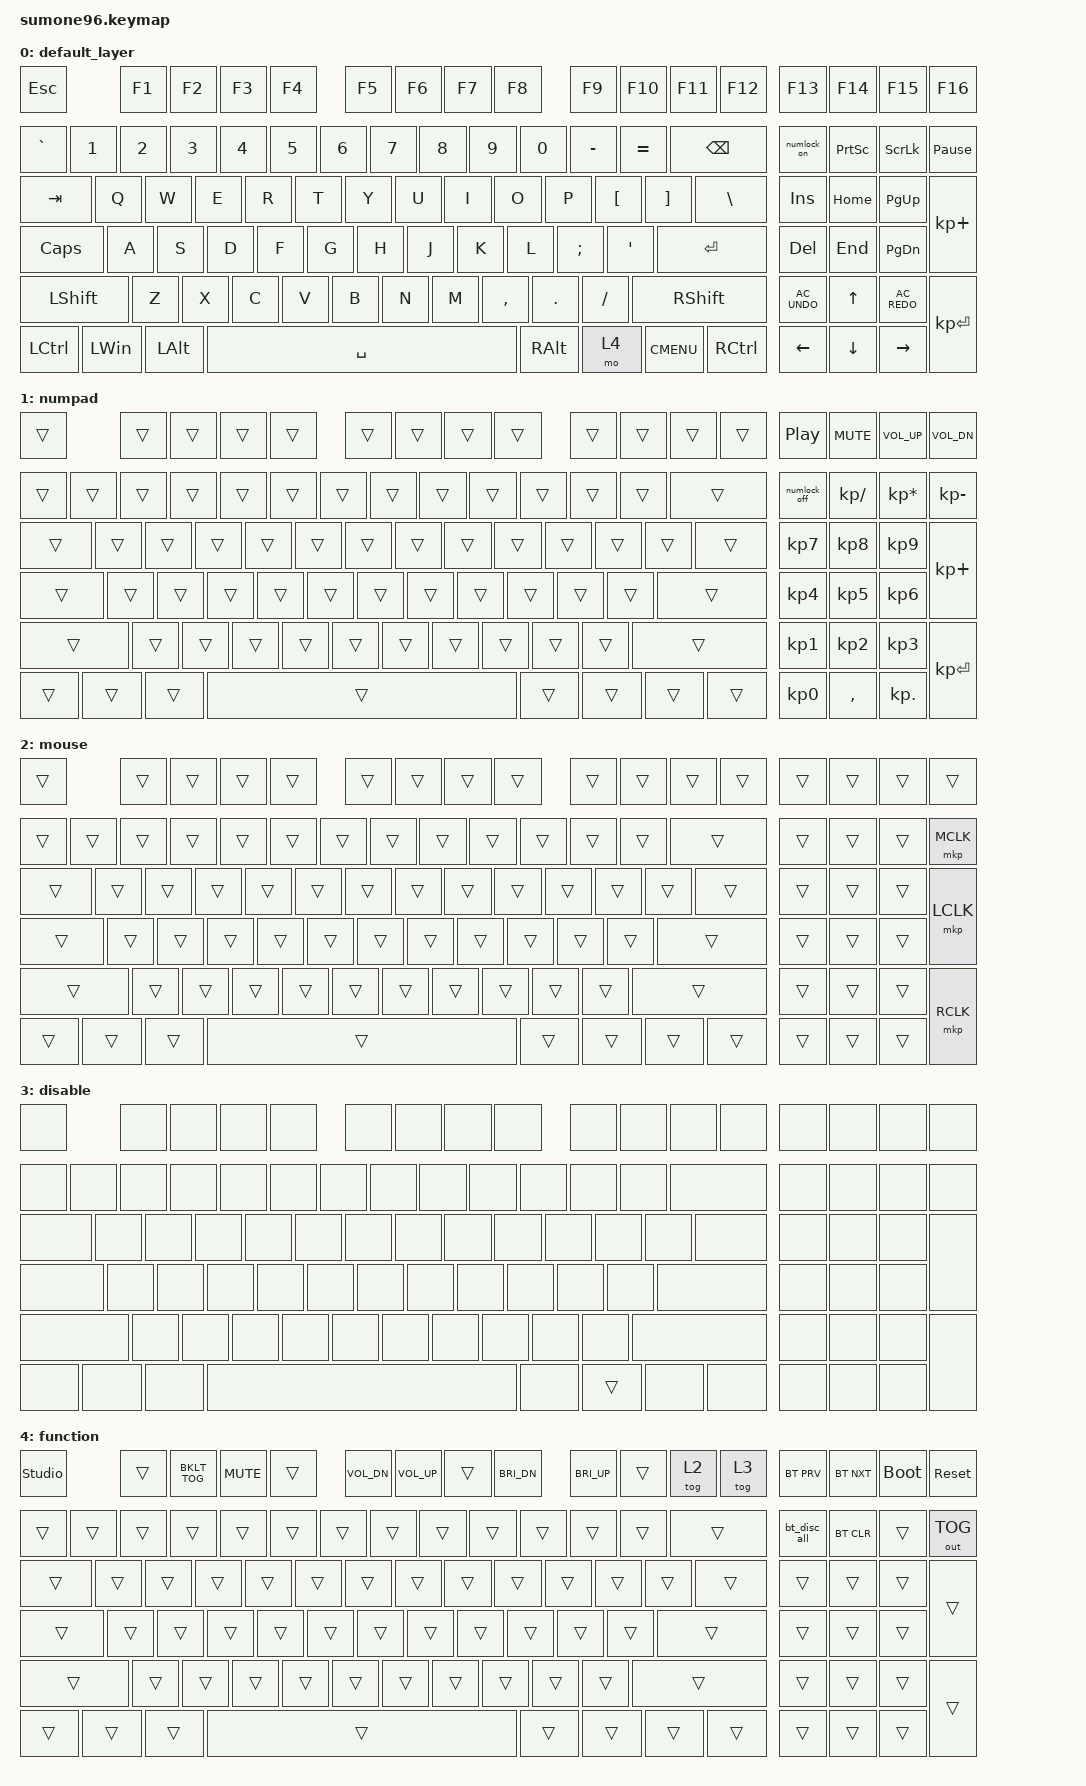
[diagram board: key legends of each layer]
#include <behaviors.dtsi>
#include <dt-bindings/zmk/keys.h>
#include <dt-bindings/zmk/backlight.h>
#include <dt-bindings/zmk/pointing.h>
#include <dt-bindings/zmk/outputs.h>
#include <dt-bindings/zmk/bt.h>

/ {
    macros {
        numlock_on: numlock_on {
            compatible = "zmk,behavior-macro";
            #binding-cells = <0>;
            bindings = <&bl BL_ON>,<&tog 1>,<&kp KP_NUMLOCK>;
        };
        numlock_off: numlock_off {
            compatible = "zmk,behavior-macro";
            #binding-cells = <0>;
            bindings = <&bl BL_OFF>,<&tog 1>,<&kp KP_NUMLOCK>;
        };
        bt_disc_all: bt_disc_all {
            compatible = "zmk,behavior-macro";
            #binding-cells = <0>;
            bindings
              = <&bt BT_DISC 0>
              , <&bt BT_DISC 1>
              , <&bt BT_DISC 2>
              , <&bt BT_DISC 3>
              , <&bt BT_DISC 4>
              ;
        };
    };

    keymap {
        compatible = "zmk,keymap";

        default_layer { // Layer 0
            bindings = <
                &kp ESC             &kp F1  &kp F2  &kp F3  &kp F4  &kp F5  &kp F6  &kp F7      &kp F8      &kp F9      &kp F10     &kp F11     &kp F12             &kp F13         &kp F14     &kp F15         &kp F16             
                &kp GRAVE   &kp N1  &kp N2  &kp N3  &kp N4  &kp N5  &kp N6  &kp N7  &kp N8      &kp N9      &kp N0      &kp MINUS   &kp EQUAL   &kp BSPC            &numlock_on     &kp PSCRN   &kp SLCK        &kp PAUSE_BREAK     
                &kp TAB     &kp Q   &kp W   &kp E   &kp R   &kp T   &kp Y   &kp U   &kp I       &kp O       &kp P       &kp LBKT    &kp RBKT    &kp BSLH            &kp INS         &kp HOME    &kp PG_UP       &kp KP_PLUS              
                &kp CAPS    &kp A   &kp S   &kp D   &kp F   &kp G   &kp H   &kp J   &kp K       &kp L       &kp SEMI    &kp APOS                &kp ENTER           &kp DEL         &kp END     &kp PG_DN            
                &kp LSHIFT  &kp Z   &kp X   &kp C   &kp V   &kp B   &kp N   &kp M   &kp COMMA   &kp PERIOD  &kp FSLH                            &kp RSHIFT          &kp C_AC_UNDO   &kp UP      &kp C_AC_REDO   &kp KP_ENTER              
                &kp LCTRL   &kp LWIN    &kp LALT            &kp SPACE                           &kp RALT    &mo 4       &kp K_CMENU             &kp RCTRL           &kp LEFT        &kp DOWN    &kp RIGHT           
            >;
        };

        numpad { // Layer 1
            bindings = <
                &trans          &trans  &trans  &trans  &trans  &trans  &trans  &trans  &trans  &trans  &trans  &trans  &trans      &kp C_PP        &kp C_MUTE      &kp C_VOL_UP    &kp C_VOL_DN
                &trans  &trans  &trans  &trans  &trans  &trans  &trans  &trans  &trans  &trans  &trans  &trans  &trans  &trans      &numlock_off    &kp KP_SLASH    &kp KP_ASTERISK &kp KP_MINUS
                &trans  &trans  &trans  &trans  &trans  &trans  &trans  &trans  &trans  &trans  &trans  &trans  &trans  &trans      &kp KP_N7       &kp KP_N8       &kp KP_N9       &kp KP_PLUS
                &trans  &trans  &trans  &trans  &trans  &trans  &trans  &trans  &trans  &trans  &trans  &trans          &trans      &kp KP_N4       &kp KP_N5       &kp KP_N6
                &trans  &trans  &trans  &trans  &trans  &trans  &trans  &trans  &trans  &trans  &trans                  &trans      &kp KP_N1       &kp KP_N2       &kp KP_N3       &kp KP_ENTER
                &trans  &trans  &trans                  &trans                          &trans  &trans  &trans          &trans      &kp KP_N0       &kp COMMA       &kp KP_DOT
            >;
        };

        mouse { // Layer 2
            bindings = <
                &trans          &trans  &trans  &trans  &trans  &trans  &trans  &trans  &trans  &trans  &trans  &trans  &trans      &trans  &trans  &trans  &trans
                &trans  &trans  &trans  &trans  &trans  &trans  &trans  &trans  &trans  &trans  &trans  &trans  &trans  &trans      &trans  &trans  &trans  &mkp MCLK
                &trans  &trans  &trans  &trans  &trans  &trans  &trans  &trans  &trans  &trans  &trans  &trans  &trans  &trans      &trans  &trans  &trans  &mkp LCLK
                &trans  &trans  &trans  &trans  &trans  &trans  &trans  &trans  &trans  &trans  &trans  &trans          &trans      &trans  &trans  &trans
                &trans  &trans  &trans  &trans  &trans  &trans  &trans  &trans  &trans  &trans  &trans                  &trans      &trans  &trans  &trans  &mkp RCLK
                &trans  &trans  &trans                  &trans                          &trans  &trans  &trans          &trans      &trans  &trans  &trans
            >;
        };

        disable { // Layer 3
            bindings = <
                &none           &none   &none   &none   &none   &none   &none   &none   &none   &none   &none   &none   &none      &none  &none  &none  &none
                &none   &none   &none   &none   &none   &none   &none   &none   &none   &none   &none   &none   &none   &none      &none  &none  &none  &none
                &none   &none   &none   &none   &none   &none   &none   &none   &none   &none   &none   &none   &none   &none      &none  &none  &none  &none
                &none   &none   &none   &none   &none   &none   &none   &none   &none   &none   &none   &none           &none      &none  &none  &none
                &none   &none   &none   &none   &none   &none   &none   &none   &none   &none   &none                   &none      &none  &none  &none  &none
                &none   &none   &none                   &none                           &none   &trans  &none           &none      &none  &none  &none
            >;
        };

        function { // Layer 4
            bindings = <
                &studio_unlock          &trans  &kp C_BKLT_TOG  &kp C_MUTE  &trans  &kp C_VOL_DN  &kp C_VOL_UP  &trans  &kp C_BRI_DN  &kp C_BRI_UP  &trans  &tog 2  &tog 3  &bt BT_PRV   &bt BT_NXT  &bootloader &sys_reset
                &trans  &trans  &trans  &trans  &trans  &trans  &trans  &trans  &trans  &trans  &trans  &trans  &trans  &trans                                              &bt_disc_all &bt BT_CLR  &trans      &out OUT_TOG
                &trans  &trans  &trans  &trans  &trans  &trans  &trans  &trans  &trans  &trans  &trans  &trans  &trans  &trans                                              &trans       &trans      &trans      &trans
                &trans  &trans  &trans  &trans  &trans  &trans  &trans  &trans  &trans  &trans  &trans  &trans          &trans                                              &trans       &trans      &trans
                &trans  &trans  &trans  &trans  &trans  &trans  &trans  &trans  &trans  &trans  &trans                  &trans                                              &trans       &trans      &trans      &trans
                &trans  &trans  &trans                  &trans                          &trans  &trans  &trans          &trans                                              &trans       &trans      &trans
            >;
        };

        extra2 { // Layer 5
            status = "reserved";
        };

        extra3 { // Layer 6
            status = "reserved";
        };

        extra4 { // Layer 7
            status = "reserved";
        };
    }; 
};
